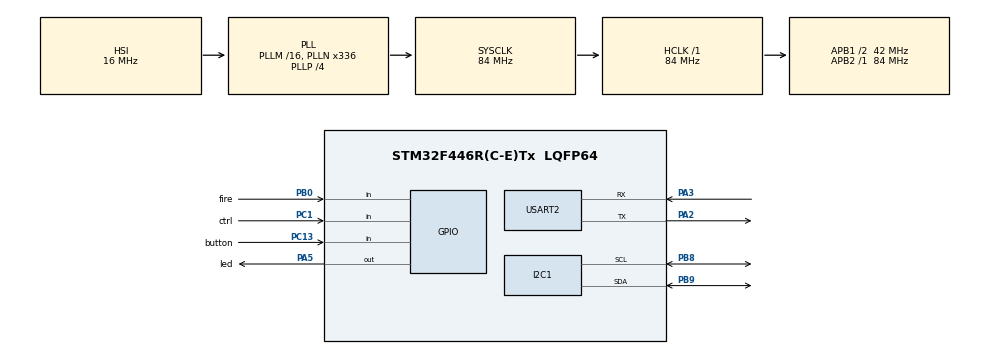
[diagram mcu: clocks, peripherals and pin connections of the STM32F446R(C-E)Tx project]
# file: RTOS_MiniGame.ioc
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FREERTOS.Mutexes01=dataMutex,Dynamic,NULL,Available
FREERTOS.Queues01=ledQueue,16,uint8_t,0,Dynamic,NULL,NULL
FREERTOS.Tasks01=dataSend,32,256,StartDataSendTask,Default,NULL,Dynamic,NULL,NULL;readSensor,32,256,StartReadSensorTask,Default,NULL,Dynamic,NULL,NULL;uartRxTask,24,256,StartUartRxTask,Default,NULL,Dynamic,NULL,NULL;ledFeedback,24,256,StartLedFeedbackTask,Default,NULL,Dynamic,NULL,NULL
FREERTOS.configUSE_NEWLIB_REENTRANT=1
I2C1.I2C_Mode=I2C_Standard
Mcu.Family=STM32F4
Mcu.Name=STM32F446R(C-E)Tx
Mcu.Package=LQFP64
NVIC.PriorityGroup=NVIC_PRIORITYGROUP_4
NVIC.TIM6_DAC_IRQn=true\:15\:0\:false\:false\:true\:false\:false\:true\:true
NVIC.TimeBase=TIM6_DAC_IRQn
NVIC.TimeBaseIP=TIM6
NVIC.USART2_IRQn=true\:5\:0\:false\:false\:true\:true\:true\:true\:true
PA13.Mode=Serial_Wire
PA13.Signal=SYS_JTMS-SWDIO
PA14.Mode=Serial_Wire
PA14.Signal=SYS_JTCK-SWCLK
PA2.Mode=Asynchronous
PA2.Signal=USART2_TX
PA3.Mode=Asynchronous
PA3.Signal=USART2_RX
PA5.GPIO_Label=led
PA5.GPIO_Speed=GPIO_SPEED_FREQ_HIGH
PA5.Signal=GPIO_Output
PB0.GPIO_Label=fire
PB0.GPIO_PuPd=GPIO_PULLUP
PB0.Signal=GPIO_Input
PB8.Mode=I2C
PB8.Signal=I2C1_SCL
PB9.Mode=I2C
PB9.Signal=I2C1_SDA
PC1.GPIO_Label=ctrl
PC1.GPIO_PuPd=GPIO_PULLUP
PC1.Signal=GPIO_Input
PC13.GPIO_Label=button
PC13.GPIO_PuPd=GPIO_PULLUP
PC13.Signal=GPIO_Input
ProjectManager.HeapSize=0x200
ProjectManager.StackSize=0x400
ProjectManager.TargetToolchain=STM32CubeIDE
RCC.48MHZClocksFreq_Value=84000000
RCC.AHBFreq_Value=84000000
RCC.APB1CLKDivider=RCC_HCLK_DIV2
RCC.APB1Freq_Value=42000000
RCC.APB1TimFreq_Value=84000000
RCC.APB2Freq_Value=84000000
RCC.APB2TimFreq_Value=84000000
RCC.CortexFreq_Value=84000000
RCC.FLatency-AdvancedSettings=FLASH_LATENCY_2
RCC.HCLKFreq_Value=84000000
RCC.HSE_VALUE=8000000
RCC.HSI_VALUE=16000000
RCC.PLLN=336
RCC.PLLP=RCC_PLLP_DIV4
RCC.SYSCLKFreq_VALUE=84000000
RCC.SYSCLKSource=RCC_SYSCLKSOURCE_PLLCLK
RCC.USBFreq_Value=168000000
RCC.VCOOutputFreq_Value=336000000
USART2.VirtualMode=VM_ASYNC
VP_FREERTOS_VS_CMSIS_V2.Mode=CMSIS_V2
VP_SYS_VS_tim6.Mode=TIM6
board=NUCLEO-F446RE

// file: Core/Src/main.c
/* USER CODE BEGIN Header */
/**
 ******************************************************************************
 * @file           : main.c
 * @brief          : Main program body
 ******************************************************************************
 * @attention
 *
 * Copyright (c) 2026 STMicroelectronics.
 * All rights reserved.
 *
 * This software is licensed under terms that can be found in the LICENSE file
 * in the root directory of this software component.
 * If no LICENSE file comes with this software, it is provided AS-IS.
 *
 ******************************************************************************
 */
/* USER CODE END Header */
#include "main.h"
#include "cmsis_os.h"

/* USER CODE BEGIN Includes */
#include "stdio.h"
#include "string.h"
#include "adxl345.h"
/* USER CODE END Includes */

/* USER CODE BEGIN PD */

#define CALIBRATION_SAMPLE_COUNT 200
#define FILTER_ALPHA 0.35f
#define BUTTON_DEBOUNCE_MS 50

/* USER CODE END PD */

I2C_HandleTypeDef hi2c1;

UART_HandleTypeDef huart2;

/* Definitions for dataSend */
osThreadId_t dataSendHandle;
const osThreadAttr_t dataSend_attributes = { .name = "dataSend", .stack_size =
		256 * 4, .priority = (osPriority_t) osPriorityAboveNormal, };
/* Definitions for readSensor */
osThreadId_t readSensorHandle;
const osThreadAttr_t readSensor_attributes =
		{ .name = "readSensor", .stack_size = 256 * 4, .priority =
				(osPriority_t) osPriorityAboveNormal, };
/* Definitions for uartRxTask */
osThreadId_t uartRxTaskHandle;
const osThreadAttr_t uartRxTask_attributes = { .name = "uartRxTask",
		.stack_size = 256 * 4, .priority = (osPriority_t) osPriorityNormal, };
/* Definitions for ledFeedback */
osThreadId_t ledFeedbackHandle;
const osThreadAttr_t ledFeedback_attributes = { .name = "ledFeedback",
		.stack_size = 256 * 4, .priority = (osPriority_t) osPriorityNormal, };
/* Definitions for ledQueue */
osMessageQueueId_t ledQueueHandle;
const osMessageQueueAttr_t ledQueue_attributes = { .name = "ledQueue" };
/* Definitions for dataMutex */
osMutexId_t dataMutexHandle;
const osMutexAttr_t dataMutex_attributes = { .name = "dataMutex" };
/* USER CODE BEGIN PV */

typedef struct {
	int16_t x;
	int16_t y;
	int16_t z;
	uint8_t fire;
	uint8_t fire_hold;
	uint8_t ctrl;
	uint8_t calibrated;
} AccelData_t;

AccelData_t accelData;

int16_t offsetX = 0;
int16_t offsetY = 0;
int16_t offsetZ = 0;

float filteredX = 0.0f;
float filteredY = 0.0f;
float filteredZ = 0.0f;

uint8_t uartRxByte = 0;

/* USER CODE END PV */

void SystemClock_Config(void);
static void MX_GPIO_Init(void);
static void MX_USART2_UART_Init(void);
static void MX_I2C1_Init(void);
void StartDataSendTask(void *argument);
void StartReadSensorTask(void *argument);
void StartUartRxTask(void *argument);
void StartLedFeedbackTask(void *argument);

/* USER CODE BEGIN 0 */
int _write(int file, char *ptr, int len) {
	int i = 0;
	for (i = 0; i < len; i++) {
		ITM_SendChar((*ptr++));
	}
	return len;
}
/* USER CODE END 0 */

int main(void) {

	/* MCU Configuration--------------------------------------------------------*/

	/* Reset of all peripherals, Initializes the Flash interface and the Systick. */
	HAL_Init();

	/* Configure the system clock */
	SystemClock_Config();

	/* Initialize all configured peripherals */
	MX_GPIO_Init();
	MX_USART2_UART_Init();
	MX_I2C1_Init();

	/* Init scheduler */
	osKernelInitialize();
	/* Create the mutex(es) */
	/* creation of dataMutex */
	dataMutexHandle = osMutexNew(&dataMutex_attributes);

	/* Create the queue(s) */
	/* creation of ledQueue */
	ledQueueHandle = osMessageQueueNew(16, sizeof(uint8_t),
			&ledQueue_attributes);

	/* Create the thread(s) */
	/* creation of dataSend */
	dataSendHandle = osThreadNew(StartDataSendTask, NULL, &dataSend_attributes);

	/* creation of readSensor */
	readSensorHandle = osThreadNew(StartReadSensorTask, NULL,
			&readSensor_attributes);

	/* creation of uartRxTask */
	uartRxTaskHandle = osThreadNew(StartUartRxTask, NULL,
			&uartRxTask_attributes);

	/* creation of ledFeedback */
	ledFeedbackHandle = osThreadNew(StartLedFeedbackTask, NULL,
			&ledFeedback_attributes);

	/* Start scheduler */
	osKernelStart();

	/* We should never get here as control is now taken by the scheduler */

	/* Infinite loop */
	while (1) {

	}
}

void SystemClock_Config(void) {
	RCC_OscInitTypeDef RCC_OscInitStruct = { 0 };
	RCC_ClkInitTypeDef RCC_ClkInitStruct = { 0 };

	/** Configure the main internal regulator output voltage
	 */
	__HAL_RCC_PWR_CLK_ENABLE();
	__HAL_PWR_VOLTAGESCALING_CONFIG(PWR_REGULATOR_VOLTAGE_SCALE3);

	/** Initializes the RCC Oscillators according to the specified parameters
	 * in the RCC_OscInitTypeDef structure.
	 */
	RCC_OscInitStruct.OscillatorType = RCC_OSCILLATORTYPE_HSI;
	RCC_OscInitStruct.HSIState = RCC_HSI_ON;
	RCC_OscInitStruct.HSICalibrationValue = RCC_HSICALIBRATION_DEFAULT;
	RCC_OscInitStruct.PLL.PLLState = RCC_PLL_ON;
	RCC_OscInitStruct.PLL.PLLSource = RCC_PLLSOURCE_HSI;
	RCC_OscInitStruct.PLL.PLLM = 16;
	RCC_OscInitStruct.PLL.PLLN = 336;
	RCC_OscInitStruct.PLL.PLLP = RCC_PLLP_DIV4;
	RCC_OscInitStruct.PLL.PLLQ = 2;
	RCC_OscInitStruct.PLL.PLLR = 2;
	if (HAL_RCC_OscConfig(&RCC_OscInitStruct) != HAL_OK) {
		Error_Handler();
	}

	/** Initializes the CPU, AHB and APB buses clocks
	 */
	RCC_ClkInitStruct.ClockType = RCC_CLOCKTYPE_HCLK | RCC_CLOCKTYPE_SYSCLK
			| RCC_CLOCKTYPE_PCLK1 | RCC_CLOCKTYPE_PCLK2;
	RCC_ClkInitStruct.SYSCLKSource = RCC_SYSCLKSOURCE_PLLCLK;
	RCC_ClkInitStruct.AHBCLKDivider = RCC_SYSCLK_DIV1;
	RCC_ClkInitStruct.APB1CLKDivider = RCC_HCLK_DIV2;
	RCC_ClkInitStruct.APB2CLKDivider = RCC_HCLK_DIV1;

	if (HAL_RCC_ClockConfig(&RCC_ClkInitStruct, FLASH_LATENCY_2) != HAL_OK) {
		Error_Handler();
	}
}

static void MX_I2C1_Init(void) {

	hi2c1.Instance = I2C1;
	hi2c1.Init.ClockSpeed = 100000;
	hi2c1.Init.DutyCycle = I2C_DUTYCYCLE_2;
	hi2c1.Init.OwnAddress1 = 0;
	hi2c1.Init.AddressingMode = I2C_ADDRESSINGMODE_7BIT;
	hi2c1.Init.DualAddressMode = I2C_DUALADDRESS_DISABLE;
	hi2c1.Init.OwnAddress2 = 0;
	hi2c1.Init.GeneralCallMode = I2C_GENERALCALL_DISABLE;
	hi2c1.Init.NoStretchMode = I2C_NOSTRETCH_DISABLE;
	if (HAL_I2C_Init(&hi2c1) != HAL_OK) {
		Error_Handler();
	}

}

static void MX_USART2_UART_Init(void) {

	huart2.Instance = USART2;
	huart2.Init.BaudRate = 115200;
	huart2.Init.WordLength = UART_WORDLENGTH_8B;
	huart2.Init.StopBits = UART_STOPBITS_1;
	huart2.Init.Parity = UART_PARITY_NONE;
	huart2.Init.Mode = UART_MODE_TX_RX;
	huart2.Init.HwFlowCtl = UART_HWCONTROL_NONE;
	huart2.Init.OverSampling = UART_OVERSAMPLING_16;
	if (HAL_UART_Init(&huart2) != HAL_OK) {
		Error_Handler();
	}

}

static void MX_GPIO_Init(void) {
	GPIO_InitTypeDef GPIO_InitStruct = { 0 };

	/* GPIO Ports Clock Enable */
	__HAL_RCC_GPIOC_CLK_ENABLE();
	__HAL_RCC_GPIOA_CLK_ENABLE();
	__HAL_RCC_GPIOB_CLK_ENABLE();

	/*Configure GPIO pin Output Level */
	HAL_GPIO_WritePin(led_GPIO_Port, led_Pin, GPIO_PIN_RESET);

	/*Configure GPIO pins : button_Pin ctrl_Pin */
	GPIO_InitStruct.Pin = button_Pin | ctrl_Pin;
	GPIO_InitStruct.Mode = GPIO_MODE_INPUT;
	GPIO_InitStruct.Pull = GPIO_PULLUP;
	HAL_GPIO_Init(GPIOC, &GPIO_InitStruct);

	/*Configure GPIO pin : led_Pin */
	GPIO_InitStruct.Pin = led_Pin;
	GPIO_InitStruct.Mode = GPIO_MODE_OUTPUT_PP;
	GPIO_InitStruct.Pull = GPIO_NOPULL;
	GPIO_InitStruct.Speed = GPIO_SPEED_FREQ_HIGH;
	HAL_GPIO_Init(led_GPIO_Port, &GPIO_InitStruct);

	/*Configure GPIO pin : fire_Pin */
	GPIO_InitStruct.Pin = fire_Pin;
	GPIO_InitStruct.Mode = GPIO_MODE_INPUT;
	GPIO_InitStruct.Pull = GPIO_PULLUP;
	HAL_GPIO_Init(fire_GPIO_Port, &GPIO_InitStruct);

}

/* USER CODE BEGIN 4 */
void ADXL345_Calibrate(void) {
	int32_t sumX = 0;
	int32_t sumY = 0;
	int32_t sumZ = 0;

	int16_t rawX = 0;
	int16_t rawY = 0;
	int16_t rawZ = 0;

	for (int i = 0; i < CALIBRATION_SAMPLE_COUNT; i++) {
		rawX = ADXL345_getAxisValue(&hi2c1, X);
		rawY = ADXL345_getAxisValue(&hi2c1, Y);
		rawZ = ADXL345_getAxisValue(&hi2c1, Z);

		sumX += rawX;
		sumY += rawY;
		sumZ += rawZ;

		osDelay(10);
	}

	offsetX = sumX / CALIBRATION_SAMPLE_COUNT;
	offsetY = sumY / CALIBRATION_SAMPLE_COUNT;
	offsetZ = sumZ / CALIBRATION_SAMPLE_COUNT;

	filteredX = 0.0f;
	filteredY = 0.0f;
	filteredZ = 0.0f;

	osMutexAcquire(dataMutexHandle, osWaitForever);
	accelData.calibrated = 1;
	osMutexRelease(dataMutexHandle);
}

void LED_Blink(uint8_t count, uint16_t onTime, uint16_t offTime) {
	for (uint8_t i = 0; i < count; i++) {
		HAL_GPIO_WritePin(led_GPIO_Port, led_Pin, GPIO_PIN_SET);
		osDelay(onTime);

		HAL_GPIO_WritePin(led_GPIO_Port, led_Pin, GPIO_PIN_RESET);
		osDelay(offTime);
	}

	HAL_GPIO_WritePin(led_GPIO_Port, led_Pin, GPIO_PIN_RESET);
}

void HandleGameCommand(uint8_t cmd) {
	switch (cmd) {
	case 'F':
		LED_Blink(1, 200, 100);
		break;

	case 'H':
		LED_Blink(3, 150, 150);
		break;

	case 'B':
		LED_Blink(5, 180, 180);
		break;

	case 'W':
		LED_Blink(4, 250, 250);
		break;

	case 'G':
		HAL_GPIO_WritePin(led_GPIO_Port, led_Pin, GPIO_PIN_SET);
		osDelay(1000);
		HAL_GPIO_WritePin(led_GPIO_Port, led_Pin, GPIO_PIN_RESET);
		break;

	default:
		break;
	}
}

void HAL_UART_RxCpltCallback(UART_HandleTypeDef *huart) {
	if (huart->Instance == USART2) {

		uint8_t cmd = uartRxByte;

		if (cmd == 'F' || cmd == 'H' || cmd == 'B' || cmd == 'W'
				|| cmd == 'G') {
			osMessageQueuePut(ledQueueHandle, &cmd, 0, 0);
		}

		HAL_UART_Receive_IT(&huart2, &uartRxByte, 1);
	}
}
/* USER CODE END 4 */

void StartDataSendTask(void *argument) {
	/* USER CODE BEGIN 5 */
	char buffer[128];

	int16_t xCopy = 0;
	int16_t yCopy = 0;
	int16_t zCopy = 0;
	uint8_t fireCopy = 0;
	uint8_t fireHoldCopy = 0;
	uint8_t calCopy = 0;
	uint8_t ctrlCopy = 0;
	/* Infinite loop */

	for (;;) {
		osMutexAcquire(dataMutexHandle, osWaitForever);

		xCopy = accelData.x;
		yCopy = accelData.y;
		zCopy = accelData.z;
		fireCopy = accelData.fire;
		fireHoldCopy = accelData.fire_hold;
		ctrlCopy = accelData.ctrl;
		calCopy = accelData.calibrated;

		/*
		 * fire and ctrl are event-based inputs.
		 * After copying them to UART packet, clear them.
		 */
		accelData.fire = 0;
		accelData.ctrl = 0;

		osMutexRelease(dataMutexHandle);

		snprintf(buffer, sizeof(buffer),
				"{\"x\":%d,\"y\":%d,\"z\":%d,\"fire\":%d,\"fire_hold\":%d,\"ctrl\":%d,\"cal\":%d}\r\n",
				xCopy, yCopy, zCopy, fireCopy, fireHoldCopy, ctrlCopy, calCopy);

		HAL_UART_Transmit(&huart2, (uint8_t*) buffer, strlen(buffer), 10);

		osDelay(10);
	}
	/* USER CODE END 5 */
}

void StartReadSensorTask(void *argument) {
	/* USER CODE BEGIN StartReadSensorTask */

	int16_t prevRawX = 0;
	int16_t prevRawY = 0;
	int16_t prevRawZ = 0;
	uint32_t sameValueStartTick = 0;

	int16_t rawX = 0;
	int16_t rawY = 0;
	int16_t rawZ = 0;

	int16_t calibratedX = 0;
	int16_t calibratedY = 0;
	int16_t calibratedZ = 0;

	uint8_t fireLast = GPIO_PIN_SET;
	uint8_t fireNow = GPIO_PIN_SET;
	uint32_t lastFireTick = 0;

	uint8_t ctrlLast = GPIO_PIN_SET;
	uint8_t ctrlNow = GPIO_PIN_SET;
	uint32_t lastCtrlTick = 0;

	ADXL345_Init(&hi2c1);

	osMutexAcquire(dataMutexHandle, osWaitForever);
	accelData.calibrated = 0;
	osMutexRelease(dataMutexHandle);

	ADXL345_Calibrate();

	for (;;) {
		rawX = ADXL345_getAxisValue(&hi2c1, X);
		rawY = ADXL345_getAxisValue(&hi2c1, Y);
		rawZ = ADXL345_getAxisValue(&hi2c1, Z);

		calibratedX = rawX - offsetX;
		calibratedY = rawY - offsetY;
		calibratedZ = rawZ - offsetZ;

		filteredX = (FILTER_ALPHA * calibratedX)
				+ ((1.0f - FILTER_ALPHA) * filteredX);
		filteredY = (FILTER_ALPHA * calibratedY)
				+ ((1.0f - FILTER_ALPHA) * filteredY);
		filteredZ = (FILTER_ALPHA * calibratedZ)
				+ ((1.0f - FILTER_ALPHA) * filteredZ);

		osMutexAcquire(dataMutexHandle, osWaitForever);

		accelData.x = (int16_t) filteredX;
		accelData.y = (int16_t) filteredY;
		accelData.z = (int16_t) filteredZ;

		if (rawX == prevRawX && rawY == prevRawY && rawZ == prevRawZ) {
			if (sameValueStartTick == 0) {
				sameValueStartTick = HAL_GetTick();
			}

			if (HAL_GetTick() - sameValueStartTick > 1000) {
				ADXL345_Init(&hi2c1);

				filteredX = 0.0f;
				filteredY = 0.0f;
				filteredZ = 0.0f;

				sameValueStartTick = 0;
			}
		} else {
			sameValueStartTick = 0;
		}

		prevRawX = rawX;
		prevRawY = rawY;
		prevRawZ = rawZ;

		ctrlNow = HAL_GPIO_ReadPin(ctrl_GPIO_Port, ctrl_Pin);

		if (ctrlLast == GPIO_PIN_SET && ctrlNow == GPIO_PIN_RESET) {
			if (HAL_GetTick() - lastCtrlTick > BUTTON_DEBOUNCE_MS) {
				accelData.ctrl = 1;
				lastCtrlTick = HAL_GetTick();
			}
		}

		ctrlLast = ctrlNow;

		fireNow = HAL_GPIO_ReadPin(fire_GPIO_Port, fire_Pin);

		if (fireNow == GPIO_PIN_RESET) {
			accelData.fire_hold = 1;
		} else {
			accelData.fire_hold = 0;
		}

		if (fireLast == GPIO_PIN_SET && fireNow == GPIO_PIN_RESET) {
			if (HAL_GetTick() - lastFireTick > BUTTON_DEBOUNCE_MS) {
				accelData.fire = 1;
				lastFireTick = HAL_GetTick();
			}
		}

		fireLast = fireNow;

		accelData.calibrated = 1;

		osMutexRelease(dataMutexHandle);

		osDelay(10);
	}

	/* USER CODE END StartReadSensorTask */
}

void StartUartRxTask(void *argument) {
	/* USER CODE BEGIN StartUartRxTask */

	HAL_UART_Receive_IT(&huart2, &uartRxByte, 1);

	/* Infinite loop */
	for (;;) {
		osDelay(1000);
		/* USER CODE END StartUartRxTask */
	}

	void StartLedFeedbackTask(void *argument) {
		/* USER CODE BEGIN StartLedFeedbackTask */

		uint8_t receivedCommand;

		/* Infinite loop */
		for (;;) {
			if (osMessageQueueGet(ledQueueHandle, &receivedCommand,
			NULL,
			osWaitForever) == osOK) {

				HandleGameCommand(receivedCommand);
			}
		}
		/* USER CODE END StartLedFeedbackTask */
	}

	/**
	 * @brief  Period elapsed callback in non blocking mode
	 * @note   This function is called  when TIM6 interrupt took place, inside
	 * HAL_TIM_IRQHandler(). It makes a direct call to HAL_IncTick() to increment
	 * a global variable "uwTick" used as application time base.
	 * @param  htim : TIM handle
	 * @retval None
	 */
	void HAL_TIM_PeriodElapsedCallback(TIM_HandleTypeDef *htim) {
		if (htim->Instance == TIM6) {
			HAL_IncTick();
		}
	}

	/**
	 * @brief  This function is executed in case of error occurrence.
	 * @retval None
	 */
	void Error_Handler(void) {
		__disable_irq();
		while (1) {
		}
	}
}
